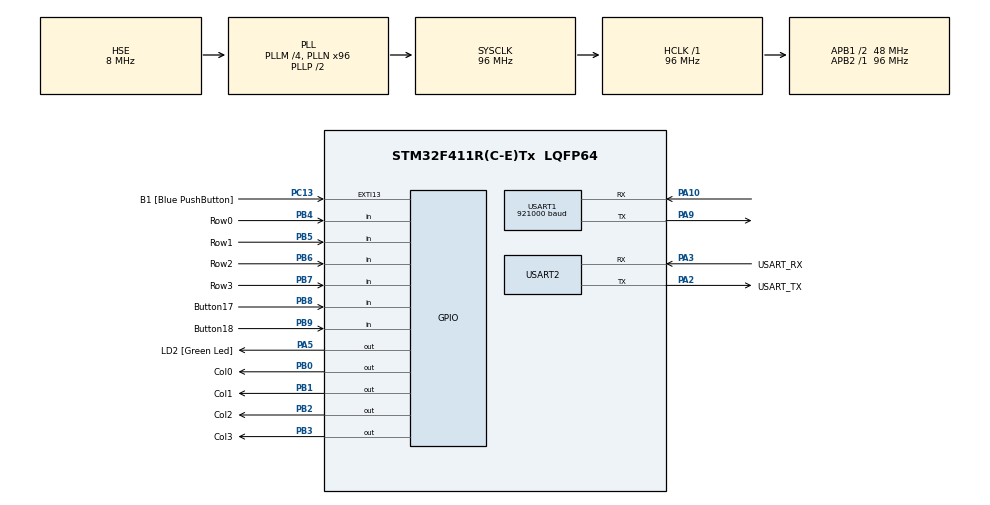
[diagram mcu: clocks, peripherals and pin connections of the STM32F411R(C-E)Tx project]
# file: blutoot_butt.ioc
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Mcu.Family=STM32F4
Mcu.Name=STM32F411R(C-E)Tx
Mcu.Package=LQFP64
NVIC.PriorityGroup=NVIC_PRIORITYGROUP_0
NVIC.TIM2_IRQn=true\:0\:0\:false\:false\:true\:true\:true\:true
NVIC.TIM3_IRQn=true\:0\:0\:false\:false\:true\:true\:true\:true
PA10.Mode=Asynchronous
PA10.Signal=USART1_RX
PA13.GPIO_Label=TMS
PA13.Mode=Serial_Wire
PA13.Signal=SYS_JTMS-SWDIO
PA14.GPIO_Label=TCK
PA14.Mode=Serial_Wire
PA14.Signal=SYS_JTCK-SWCLK
PA2.GPIO_Label=USART_TX
PA2.Mode=Asynchronous
PA2.Signal=USART2_TX
PA3.GPIO_Label=USART_RX
PA3.Mode=Asynchronous
PA3.Signal=USART2_RX
PA5.GPIO_Label=LD2 [Green Led]
PA5.Signal=GPIO_Output
PA9.Mode=Asynchronous
PA9.Signal=USART1_TX
PB0.GPIO_Label=Col0
PB0.GPIO_ModeDefaultOutputPP=GPIO_MODE_OUTPUT_OD
PB0.GPIO_PuPd=GPIO_NOPULL
PB0.Signal=GPIO_Output
PB1.GPIO_Label=Col1
PB1.GPIO_ModeDefaultOutputPP=GPIO_MODE_OUTPUT_OD
PB1.GPIO_PuPd=GPIO_NOPULL
PB1.Signal=GPIO_Output
PB2.GPIO_Label=Col2
PB2.GPIO_ModeDefaultOutputPP=GPIO_MODE_OUTPUT_OD
PB2.GPIO_PuPd=GPIO_NOPULL
PB2.Signal=GPIO_Output
PB3.GPIO_Label=Col3
PB3.GPIO_ModeDefaultOutputPP=GPIO_MODE_OUTPUT_OD
PB3.GPIO_PuPd=GPIO_NOPULL
PB3.Signal=GPIO_Output
PB4.GPIO_Label=Row0
PB4.GPIO_PuPd=GPIO_PULLUP
PB4.Signal=GPIO_Input
PB5.GPIO_Label=Row1
PB5.GPIO_PuPd=GPIO_PULLUP
PB5.Signal=GPIO_Input
PB6.GPIO_Label=Row2
PB6.GPIO_PuPd=GPIO_PULLUP
PB6.Signal=GPIO_Input
PB7.GPIO_Label=Row3
PB7.GPIO_PuPd=GPIO_PULLUP
PB7.Signal=GPIO_Input
PB8.GPIO_Label=Button17
PB8.GPIO_PuPd=GPIO_PULLDOWN
PB8.Signal=GPIO_Input
PB9.GPIO_Label=Button18
PB9.GPIO_PuPd=GPIO_PULLDOWN
PB9.Signal=GPIO_Input
PC13-ANTI_TAMP.GPIO_Label=B1 [Blue PushButton]
PC13-ANTI_TAMP.GPIO_ModeDefaultEXTI=GPIO_MODE_IT_FALLING
PC13-ANTI_TAMP.Signal=GPXTI13
PC14-OSC32_IN.Mode=LSE-External-Oscillator
PC14-OSC32_IN.Signal=RCC_OSC32_IN
PC15-OSC32_OUT.Mode=LSE-External-Oscillator
PC15-OSC32_OUT.Signal=RCC_OSC32_OUT
PH0\ -\ OSC_IN.Mode=HSE-External-Clock-Source
PH0\ -\ OSC_IN.Signal=RCC_OSC_IN
PH1\ -\ OSC_OUT.Mode=HSE-External-Clock-Source
PH1\ -\ OSC_OUT.Signal=RCC_OSC_OUT
ProjectManager.HeapSize=0x200
ProjectManager.StackSize=0x400
ProjectManager.TargetToolchain=STM32CubeIDE
RCC.48MHZClocksFreq_Value=48000000
RCC.AHBFreq_Value=96000000
RCC.APB1CLKDivider=RCC_HCLK_DIV2
RCC.APB1Freq_Value=48000000
RCC.APB1TimFreq_Value=96000000
RCC.APB2Freq_Value=96000000
RCC.APB2TimFreq_Value=96000000
RCC.CortexFreq_Value=96000000
RCC.FLatency-AdvancedSettings=FLASH_LATENCY_3
RCC.HCLKFreq_Value=96000000
RCC.HSE_VALUE=8000000
RCC.HSI_VALUE=16000000
RCC.PLLM=4
RCC.PLLN=96
RCC.PLLSourceVirtual=RCC_PLLSOURCE_HSE
RCC.SYSCLKFreq_VALUE=96000000
RCC.SYSCLKSource=RCC_SYSCLKSOURCE_PLLCLK
RCC.VCOOutputFreq_Value=192000000
TIM2.Period=100-1
TIM2.Prescaler=96-1
TIM3.Period=1000-1
TIM3.Prescaler=800-1
USART1.BaudRate=921000
USART1.VirtualMode=VM_ASYNC
USART2.VirtualMode=VM_ASYNC
VP_TIM2_VS_ClockSourceINT.Mode=Internal
VP_TIM3_VS_ClockSourceINT.Mode=Internal
board=NUCLEO-F411RE

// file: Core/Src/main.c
/* USER CODE BEGIN Header */
/**
  ******************************************************************************
  * @file           : main.c
  * @brief          : Main program body
  ******************************************************************************
  * @attention
  *
  * Copyright (c) 2024 STMicroelectronics.
  * All rights reserved.
  *
  * This software is licensed under terms that can be found in the LICENSE file
  * in the root directory of this software component.
  * If no LICENSE file comes with this software, it is provided AS-IS.
  *
  ******************************************************************************
  */
/* USER CODE END Header */
#include "main.h"

/* USER CODE BEGIN Includes */
#include <stdio.h>
#include <string.h>
/* USER CODE END Includes */

TIM_HandleTypeDef htim2;
TIM_HandleTypeDef htim3;

UART_HandleTypeDef huart1;
UART_HandleTypeDef huart2;

/* USER CODE BEGIN PV */
volatile int col = 0;
uint8_t buffer[] = {0, 0, 0};
uint8_t cleaned_buffer[8] = {0xFD, 0x06, 0, 0, 0, 0, 0, 0};
/* USER CODE END PV */

void SystemClock_Config(void);
static void MX_GPIO_Init(void);
static void MX_USART2_UART_Init(void);
static void MX_USART1_UART_Init(void);
static void MX_TIM2_Init(void);
static void MX_TIM3_Init(void);

/* USER CODE BEGIN 0 */
#ifdef __GNUC__
  /* With GCC, small printf (option LD Linker->Libraries->Small printf
     set to 'Yes') calls __io_putchar() */
int __io_putchar(int ch)
#else
int fputc(int ch, FILE *f)
#endif /* __GNUC__ */
{
  /* Place your implementation of fputc here */
  /* e.g. write a character to the UART3 and Loop until the end of transmission */
  HAL_UART_Transmit(&huart2, (uint8_t *)&ch, 1, HAL_MAX_DELAY);
  return ch;
}
/* USER CODE END 0 */

int main(void)
{

  /* MCU Configuration--------------------------------------------------------*/

  /* Reset of all peripherals, Initializes the Flash interface and the Systick. */
  HAL_Init();

  /* Configure the system clock */
  SystemClock_Config();

  /* Initialize all configured peripherals */
  MX_GPIO_Init();
  MX_USART2_UART_Init();
  MX_USART1_UART_Init();
  MX_TIM2_Init();
  MX_TIM3_Init();
  /* USER CODE BEGIN 2 */
  HAL_TIM_Base_Start_IT(&htim2);
  HAL_TIM_Base_Start_IT(&htim3);
  /* USER CODE END 2 */

  /* Infinite loop */
  while (1)
  {

  }
}

void SystemClock_Config(void)
{
  RCC_OscInitTypeDef RCC_OscInitStruct = {0};
  RCC_ClkInitTypeDef RCC_ClkInitStruct = {0};

  /** Configure the main internal regulator output voltage
  */
  __HAL_RCC_PWR_CLK_ENABLE();
  __HAL_PWR_VOLTAGESCALING_CONFIG(PWR_REGULATOR_VOLTAGE_SCALE1);

  /** Initializes the RCC Oscillators according to the specified parameters
  * in the RCC_OscInitTypeDef structure.
  */
  RCC_OscInitStruct.OscillatorType = RCC_OSCILLATORTYPE_HSE;
  RCC_OscInitStruct.HSEState = RCC_HSE_BYPASS;
  RCC_OscInitStruct.PLL.PLLState = RCC_PLL_ON;
  RCC_OscInitStruct.PLL.PLLSource = RCC_PLLSOURCE_HSE;
  RCC_OscInitStruct.PLL.PLLM = 4;
  RCC_OscInitStruct.PLL.PLLN = 96;
  RCC_OscInitStruct.PLL.PLLP = RCC_PLLP_DIV2;
  RCC_OscInitStruct.PLL.PLLQ = 4;
  if (HAL_RCC_OscConfig(&RCC_OscInitStruct) != HAL_OK)
  {
    Error_Handler();
  }

  /** Initializes the CPU, AHB and APB buses clocks
  */
  RCC_ClkInitStruct.ClockType = RCC_CLOCKTYPE_HCLK|RCC_CLOCKTYPE_SYSCLK
                              |RCC_CLOCKTYPE_PCLK1|RCC_CLOCKTYPE_PCLK2;
  RCC_ClkInitStruct.SYSCLKSource = RCC_SYSCLKSOURCE_PLLCLK;
  RCC_ClkInitStruct.AHBCLKDivider = RCC_SYSCLK_DIV1;
  RCC_ClkInitStruct.APB1CLKDivider = RCC_HCLK_DIV2;
  RCC_ClkInitStruct.APB2CLKDivider = RCC_HCLK_DIV1;

  if (HAL_RCC_ClockConfig(&RCC_ClkInitStruct, FLASH_LATENCY_3) != HAL_OK)
  {
    Error_Handler();
  }
}

static void MX_TIM2_Init(void)
{

  TIM_ClockConfigTypeDef sClockSourceConfig = {0};
  TIM_MasterConfigTypeDef sMasterConfig = {0};

  htim2.Instance = TIM2;
  htim2.Init.Prescaler = 96-1;
  htim2.Init.CounterMode = TIM_COUNTERMODE_UP;
  htim2.Init.Period = 100-1;
  htim2.Init.ClockDivision = TIM_CLOCKDIVISION_DIV1;
  htim2.Init.AutoReloadPreload = TIM_AUTORELOAD_PRELOAD_DISABLE;
  if (HAL_TIM_Base_Init(&htim2) != HAL_OK)
  {
    Error_Handler();
  }
  sClockSourceConfig.ClockSource = TIM_CLOCKSOURCE_INTERNAL;
  if (HAL_TIM_ConfigClockSource(&htim2, &sClockSourceConfig) != HAL_OK)
  {
    Error_Handler();
  }
  sMasterConfig.MasterOutputTrigger = TIM_TRGO_RESET;
  sMasterConfig.MasterSlaveMode = TIM_MASTERSLAVEMODE_DISABLE;
  if (HAL_TIMEx_MasterConfigSynchronization(&htim2, &sMasterConfig) != HAL_OK)
  {
    Error_Handler();
  }

}

static void MX_TIM3_Init(void)
{

  TIM_ClockConfigTypeDef sClockSourceConfig = {0};
  TIM_MasterConfigTypeDef sMasterConfig = {0};

  htim3.Instance = TIM3;
  htim3.Init.Prescaler = 800-1;
  htim3.Init.CounterMode = TIM_COUNTERMODE_UP;
  htim3.Init.Period = 1000-1;
  htim3.Init.ClockDivision = TIM_CLOCKDIVISION_DIV1;
  htim3.Init.AutoReloadPreload = TIM_AUTORELOAD_PRELOAD_DISABLE;
  if (HAL_TIM_Base_Init(&htim3) != HAL_OK)
  {
    Error_Handler();
  }
  sClockSourceConfig.ClockSource = TIM_CLOCKSOURCE_INTERNAL;
  if (HAL_TIM_ConfigClockSource(&htim3, &sClockSourceConfig) != HAL_OK)
  {
    Error_Handler();
  }
  sMasterConfig.MasterOutputTrigger = TIM_TRGO_RESET;
  sMasterConfig.MasterSlaveMode = TIM_MASTERSLAVEMODE_DISABLE;
  if (HAL_TIMEx_MasterConfigSynchronization(&htim3, &sMasterConfig) != HAL_OK)
  {
    Error_Handler();
  }

}

static void MX_USART1_UART_Init(void)
{

  huart1.Instance = USART1;
  huart1.Init.BaudRate = 921000;
  huart1.Init.WordLength = UART_WORDLENGTH_8B;
  huart1.Init.StopBits = UART_STOPBITS_1;
  huart1.Init.Parity = UART_PARITY_NONE;
  huart1.Init.Mode = UART_MODE_TX_RX;
  huart1.Init.HwFlowCtl = UART_HWCONTROL_NONE;
  huart1.Init.OverSampling = UART_OVERSAMPLING_16;
  if (HAL_UART_Init(&huart1) != HAL_OK)
  {
    Error_Handler();
  }

}

static void MX_USART2_UART_Init(void)
{

  huart2.Instance = USART2;
  huart2.Init.BaudRate = 115200;
  huart2.Init.WordLength = UART_WORDLENGTH_8B;
  huart2.Init.StopBits = UART_STOPBITS_1;
  huart2.Init.Parity = UART_PARITY_NONE;
  huart2.Init.Mode = UART_MODE_TX_RX;
  huart2.Init.HwFlowCtl = UART_HWCONTROL_NONE;
  huart2.Init.OverSampling = UART_OVERSAMPLING_16;
  if (HAL_UART_Init(&huart2) != HAL_OK)
  {
    Error_Handler();
  }

}

static void MX_GPIO_Init(void)
{
  GPIO_InitTypeDef GPIO_InitStruct = {0};

  /* GPIO Ports Clock Enable */
  __HAL_RCC_GPIOC_CLK_ENABLE();
  __HAL_RCC_GPIOH_CLK_ENABLE();
  __HAL_RCC_GPIOA_CLK_ENABLE();
  __HAL_RCC_GPIOB_CLK_ENABLE();

  /*Configure GPIO pin Output Level */
  HAL_GPIO_WritePin(LD2_GPIO_Port, LD2_Pin, GPIO_PIN_RESET);

  /*Configure GPIO pin Output Level */
  HAL_GPIO_WritePin(GPIOB, Col0_Pin|Col1_Pin|Col2_Pin|Col3_Pin, GPIO_PIN_RESET);

  /*Configure GPIO pin : B1_Pin */
  GPIO_InitStruct.Pin = B1_Pin;
  GPIO_InitStruct.Mode = GPIO_MODE_IT_FALLING;
  GPIO_InitStruct.Pull = GPIO_NOPULL;
  HAL_GPIO_Init(B1_GPIO_Port, &GPIO_InitStruct);

  /*Configure GPIO pin : LD2_Pin */
  GPIO_InitStruct.Pin = LD2_Pin;
  GPIO_InitStruct.Mode = GPIO_MODE_OUTPUT_PP;
  GPIO_InitStruct.Pull = GPIO_NOPULL;
  GPIO_InitStruct.Speed = GPIO_SPEED_FREQ_LOW;
  HAL_GPIO_Init(LD2_GPIO_Port, &GPIO_InitStruct);

  /*Configure GPIO pins : Col0_Pin Col1_Pin Col2_Pin Col3_Pin */
  GPIO_InitStruct.Pin = Col0_Pin|Col1_Pin|Col2_Pin|Col3_Pin;
  GPIO_InitStruct.Mode = GPIO_MODE_OUTPUT_OD;
  GPIO_InitStruct.Pull = GPIO_NOPULL;
  GPIO_InitStruct.Speed = GPIO_SPEED_FREQ_LOW;
  HAL_GPIO_Init(GPIOB, &GPIO_InitStruct);

  /*Configure GPIO pins : Row0_Pin Row1_Pin Row2_Pin Row3_Pin */
  GPIO_InitStruct.Pin = Row0_Pin|Row1_Pin|Row2_Pin|Row3_Pin;
  GPIO_InitStruct.Mode = GPIO_MODE_INPUT;
  GPIO_InitStruct.Pull = GPIO_PULLUP;
  HAL_GPIO_Init(GPIOB, &GPIO_InitStruct);

  /*Configure GPIO pins : Button17_Pin Button18_Pin */
  GPIO_InitStruct.Pin = Button17_Pin|Button18_Pin;
  GPIO_InitStruct.Mode = GPIO_MODE_INPUT;
  GPIO_InitStruct.Pull = GPIO_PULLDOWN;
  HAL_GPIO_Init(GPIOB, &GPIO_InitStruct);

}

/* USER CODE BEGIN 4 */
void buttons_init(void) {
	  GPIOB->BSRR = 0xf;
	  GPIOB->BSRR = 0x1 << 16;
}

void drive_column(void) {
	col = (col + 1) & 0x3;
	GPIOB->BSRR = 0xf;
	GPIOB->BSRR = 0x1 << (col + 16);
}

uint8_t read_rows(void) {
	return ~((GPIOB->IDR & 0xf0) >> 4) & 0xf;
}

void clean_buffer(void) {
	cleaned_buffer[4] = (buffer[2] & 0x01)? 0x7f : 0x00;
	cleaned_buffer[6] = buffer[0];
	cleaned_buffer[7] = buffer[1];
}

void HAL_TIM_PeriodElapsedCallback(TIM_HandleTypeDef *htim) {
	if (htim == &htim2) {
		uint8_t rows = read_rows();
		int idx = col / 2;
		buffer[idx] &= ~(0xf << ((col % 2) * 4));
		buffer[idx] |= rows << ((col % 2) * 4);
		drive_column();
		buffer[2] = HAL_GPIO_ReadPin(Button17_GPIO_Port, Button17_Pin) | HAL_GPIO_ReadPin(Button18_GPIO_Port, Button18_Pin) << 1;
	}

	if (htim == &htim3) {
		clean_buffer();
		HAL_UART_Transmit(&huart1, cleaned_buffer, sizeof(cleaned_buffer), HAL_MAX_DELAY);
	}
}
/* USER CODE END 4 */

void Error_Handler(void)
{
  __disable_irq();
  while (1)
  {
  }
}
